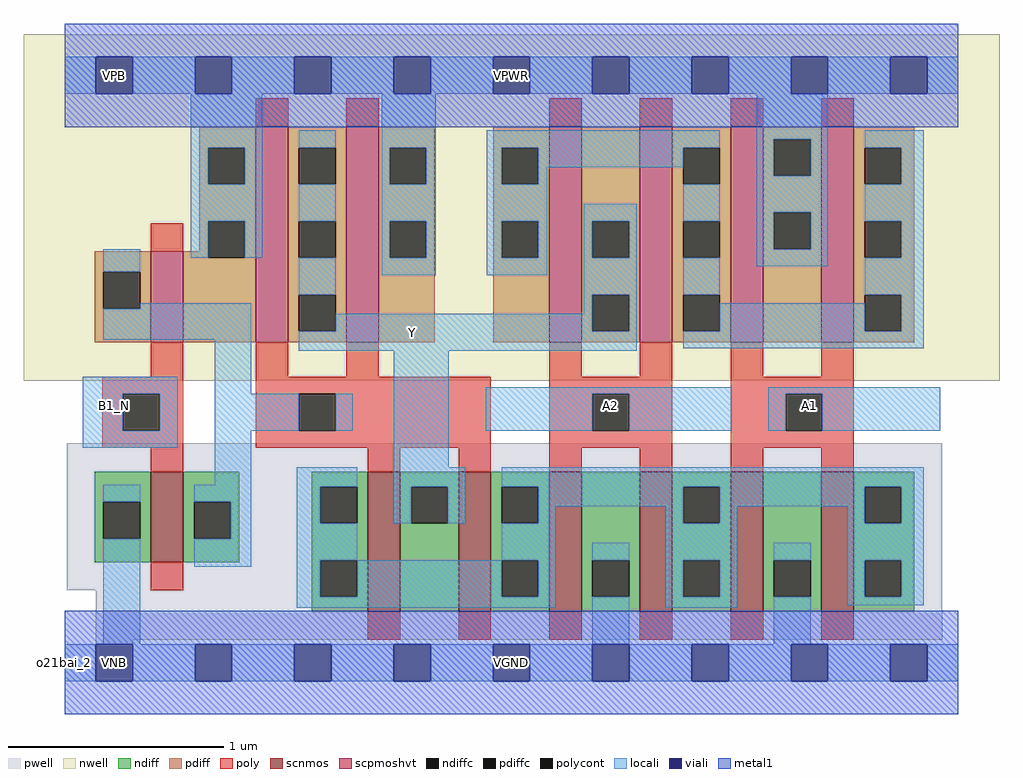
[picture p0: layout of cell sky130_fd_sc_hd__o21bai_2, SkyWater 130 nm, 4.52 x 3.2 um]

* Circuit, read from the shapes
.subckt sky130_fd_sc_hd__o21bai_2 A1 A2 B1_N VGND VNB VPB VPWR Y
XM1 n1 B1_N VGND VNB sky130_fd_pr__nfet_01v8 w=0.42 l=0.15
XM2 Y n1 n2 VNB sky130_fd_pr__nfet_01v8 w=0.65 l=0.15 m=2
XM3 VGND A2 n2 VNB sky130_fd_pr__nfet_01v8 w=0.65 l=0.15 m=2
XM4 VGND A1 n2 VNB sky130_fd_pr__nfet_01v8 w=0.65 l=0.15 m=2
XM5 VPWR B1_N n1 VPB sky130_fd_pr__pfet_01v8_hvt w=0.42 l=0.15
XM6 Y n1 VPWR VPB sky130_fd_pr__pfet_01v8_hvt w=1 l=0.15 m=2
XM7 Y A2 n3 VPB sky130_fd_pr__pfet_01v8_hvt w=1 l=0.15 m=2
XM8 VPWR A1 n3 VPB sky130_fd_pr__pfet_01v8_hvt w=1 l=0.15 m=2
.ends

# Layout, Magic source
magic
tech sky130B
magscale 1 2
<< nwell >>
rect -38 261 866 582
<< pwell >>
rect 2 67 813 203
rect 29 21 813 67
rect 29 -17 63 21
<< scnmos >>
rect 80 93 110 177
rect 281 47 311 177
rect 365 47 395 177
rect 449 47 479 177
rect 533 47 563 177
rect 617 47 647 177
rect 701 47 731 177
<< scpmoshvt >>
rect 80 297 110 381
rect 177 297 207 497
rect 261 297 291 497
rect 449 297 479 497
rect 533 297 563 497
rect 617 297 647 497
rect 701 297 731 497
<< ndiff >>
rect 28 149 80 177
rect 28 115 36 149
rect 70 115 80 149
rect 28 93 80 115
rect 110 149 162 177
rect 110 115 120 149
rect 154 115 162 149
rect 110 93 162 115
rect 229 163 281 177
rect 229 129 237 163
rect 271 129 281 163
rect 229 95 281 129
rect 229 61 237 95
rect 271 61 281 95
rect 229 47 281 61
rect 311 163 365 177
rect 311 129 321 163
rect 355 129 365 163
rect 311 47 365 129
rect 395 163 449 177
rect 395 129 405 163
rect 439 129 449 163
rect 395 95 449 129
rect 395 61 405 95
rect 439 61 449 95
rect 395 47 449 61
rect 479 95 533 177
rect 479 61 489 95
rect 523 61 533 95
rect 479 47 533 61
rect 563 163 617 177
rect 563 129 573 163
rect 607 129 617 163
rect 563 95 617 129
rect 563 61 573 95
rect 607 61 617 95
rect 563 47 617 61
rect 647 95 701 177
rect 647 61 657 95
rect 691 61 701 95
rect 647 47 701 61
rect 731 163 787 177
rect 731 129 741 163
rect 775 129 787 163
rect 731 95 787 129
rect 731 61 741 95
rect 775 61 787 95
rect 731 47 787 61
<< pdiff >>
rect 125 477 177 497
rect 125 443 133 477
rect 167 443 177 477
rect 125 409 177 443
rect 125 381 133 409
rect 28 362 80 381
rect 28 328 36 362
rect 70 328 80 362
rect 28 297 80 328
rect 110 375 133 381
rect 167 375 177 409
rect 110 297 177 375
rect 207 477 261 497
rect 207 443 217 477
rect 251 443 261 477
rect 207 409 261 443
rect 207 375 217 409
rect 251 375 261 409
rect 207 341 261 375
rect 207 307 217 341
rect 251 307 261 341
rect 207 297 261 307
rect 291 477 343 497
rect 291 443 301 477
rect 335 443 343 477
rect 291 409 343 443
rect 291 375 301 409
rect 335 375 343 409
rect 291 297 343 375
rect 397 477 449 497
rect 397 443 405 477
rect 439 443 449 477
rect 397 409 449 443
rect 397 375 405 409
rect 439 375 449 409
rect 397 297 449 375
rect 479 409 533 497
rect 479 375 489 409
rect 523 375 533 409
rect 479 341 533 375
rect 479 307 489 341
rect 523 307 533 341
rect 479 297 533 307
rect 563 477 617 497
rect 563 443 573 477
rect 607 443 617 477
rect 563 409 617 443
rect 563 375 573 409
rect 607 375 617 409
rect 563 341 617 375
rect 563 307 573 341
rect 607 307 617 341
rect 563 297 617 307
rect 647 485 701 497
rect 647 451 657 485
rect 691 451 701 485
rect 647 417 701 451
rect 647 383 657 417
rect 691 383 701 417
rect 647 297 701 383
rect 731 477 787 497
rect 731 443 741 477
rect 775 443 787 477
rect 731 409 787 443
rect 731 375 741 409
rect 775 375 787 409
rect 731 341 787 375
rect 731 307 741 341
rect 775 307 787 341
rect 731 297 787 307
<< ndiffc >>
rect 36 115 70 149
rect 120 115 154 149
rect 237 129 271 163
rect 237 61 271 95
rect 321 129 355 163
rect 405 129 439 163
rect 405 61 439 95
rect 489 61 523 95
rect 573 129 607 163
rect 573 61 607 95
rect 657 61 691 95
rect 741 129 775 163
rect 741 61 775 95
<< pdiffc >>
rect 133 443 167 477
rect 36 328 70 362
rect 133 375 167 409
rect 217 443 251 477
rect 217 375 251 409
rect 217 307 251 341
rect 301 443 335 477
rect 301 375 335 409
rect 405 443 439 477
rect 405 375 439 409
rect 489 375 523 409
rect 489 307 523 341
rect 573 443 607 477
rect 573 375 607 409
rect 573 307 607 341
rect 657 451 691 485
rect 657 383 691 417
rect 741 443 775 477
rect 741 375 775 409
rect 741 307 775 341
<< poly >>
rect 177 497 207 523
rect 261 497 291 523
rect 449 497 479 523
rect 533 497 563 523
rect 617 497 647 523
rect 701 497 731 523
rect 80 381 110 407
rect 80 265 110 297
rect 35 249 110 265
rect 35 215 54 249
rect 88 215 110 249
rect 35 199 110 215
rect 177 265 207 297
rect 261 265 291 297
rect 449 265 479 297
rect 533 265 563 297
rect 177 249 395 265
rect 177 215 217 249
rect 251 215 395 249
rect 177 199 395 215
rect 80 177 110 199
rect 281 177 311 199
rect 365 177 395 199
rect 449 249 563 265
rect 449 215 489 249
rect 523 215 563 249
rect 449 199 563 215
rect 449 177 479 199
rect 533 177 563 199
rect 617 265 647 297
rect 701 265 731 297
rect 617 249 731 265
rect 617 215 668 249
rect 702 215 731 249
rect 617 199 731 215
rect 617 177 647 199
rect 701 177 731 199
rect 80 67 110 93
rect 281 21 311 47
rect 365 21 395 47
rect 449 21 479 47
rect 533 21 563 47
rect 617 21 647 47
rect 701 21 731 47
<< polycont >>
rect 54 215 88 249
rect 217 215 251 249
rect 489 215 523 249
rect 668 215 702 249
<< locali >>
rect 0 527 29 561
rect 63 527 121 561
rect 155 527 213 561
rect 247 527 305 561
rect 339 527 397 561
rect 431 527 489 561
rect 523 527 581 561
rect 615 527 673 561
rect 707 527 765 561
rect 799 527 828 561
rect 117 477 183 527
rect 117 443 133 477
rect 167 443 183 477
rect 117 409 183 443
rect 36 362 70 383
rect 117 375 133 409
rect 167 375 183 409
rect 217 477 251 493
rect 217 409 251 443
rect 217 341 251 375
rect 294 477 344 527
rect 294 443 301 477
rect 335 443 344 477
rect 294 409 344 443
rect 294 375 301 409
rect 335 375 344 409
rect 294 359 344 375
rect 391 477 607 493
rect 391 443 405 477
rect 439 459 573 477
rect 439 443 447 459
rect 391 409 447 443
rect 391 375 405 409
rect 439 375 447 409
rect 391 359 447 375
rect 481 409 530 425
rect 481 375 489 409
rect 523 375 530 409
rect 70 328 173 333
rect 36 299 173 328
rect 17 249 105 265
rect 17 215 54 249
rect 88 215 105 249
rect 17 199 105 215
rect 139 249 173 299
rect 481 341 530 375
rect 481 323 489 341
rect 251 307 489 323
rect 523 307 530 341
rect 217 289 530 307
rect 573 409 607 443
rect 573 341 607 375
rect 641 485 707 527
rect 641 451 657 485
rect 691 451 707 485
rect 641 417 707 451
rect 641 383 657 417
rect 691 383 707 417
rect 641 367 707 383
rect 741 477 796 493
rect 775 443 796 477
rect 741 409 796 443
rect 775 375 796 409
rect 741 341 796 375
rect 607 307 741 333
rect 775 307 796 341
rect 573 291 796 307
rect 139 215 217 249
rect 251 215 267 249
rect 139 165 173 215
rect 305 181 356 289
rect 390 249 618 255
rect 390 215 489 249
rect 523 215 618 249
rect 652 249 811 255
rect 652 215 668 249
rect 702 215 811 249
rect 36 149 70 165
rect 36 17 70 115
rect 120 149 173 165
rect 154 115 173 149
rect 120 89 173 115
rect 215 163 271 181
rect 215 129 237 163
rect 305 163 371 181
rect 305 129 321 163
rect 355 129 371 163
rect 405 163 796 181
rect 439 145 573 163
rect 439 129 455 145
rect 215 95 271 129
rect 405 95 455 129
rect 557 129 573 145
rect 607 145 741 163
rect 607 129 623 145
rect 215 61 237 95
rect 271 61 405 95
rect 439 61 455 95
rect 215 51 455 61
rect 489 95 523 111
rect 489 17 523 61
rect 557 95 623 129
rect 725 129 741 145
rect 775 129 796 163
rect 557 61 573 95
rect 607 61 623 95
rect 557 51 623 61
rect 657 95 691 111
rect 657 17 691 61
rect 725 95 796 129
rect 725 61 741 95
rect 775 61 796 95
rect 725 53 796 61
rect 0 -17 29 17
rect 63 -17 121 17
rect 155 -17 213 17
rect 247 -17 305 17
rect 339 -17 397 17
rect 431 -17 489 17
rect 523 -17 581 17
rect 615 -17 673 17
rect 707 -17 765 17
rect 799 -17 828 17
<< viali >>
rect 29 527 63 561
rect 121 527 155 561
rect 213 527 247 561
rect 305 527 339 561
rect 397 527 431 561
rect 489 527 523 561
rect 581 527 615 561
rect 673 527 707 561
rect 765 527 799 561
rect 29 -17 63 17
rect 121 -17 155 17
rect 213 -17 247 17
rect 305 -17 339 17
rect 397 -17 431 17
rect 489 -17 523 17
rect 581 -17 615 17
rect 673 -17 707 17
rect 765 -17 799 17
<< metal1 >>
rect 0 561 828 592
rect 0 527 29 561
rect 63 527 121 561
rect 155 527 213 561
rect 247 527 305 561
rect 339 527 397 561
rect 431 527 489 561
rect 523 527 581 561
rect 615 527 673 561
rect 707 527 765 561
rect 799 527 828 561
rect 0 496 828 527
rect 0 17 828 48
rect 0 -17 29 17
rect 63 -17 121 17
rect 155 -17 213 17
rect 247 -17 305 17
rect 339 -17 397 17
rect 431 -17 489 17
rect 523 -17 581 17
rect 615 -17 673 17
rect 707 -17 765 17
rect 799 -17 828 17
rect 0 -48 828 -17
<< labels >>
flabel locali s 29 221 63 255 0 FreeSans 400 0 0 0 B1_N
port 3 nsew signal input
flabel locali s 305 289 339 323 0 FreeSans 400 0 0 0 Y
port 8 nsew signal output
flabel locali s 489 221 523 255 0 FreeSans 400 180 0 0 A2
port 2 nsew signal input
flabel locali s 673 221 707 255 0 FreeSans 400 180 0 0 A1
port 1 nsew signal input
flabel pwell s 29 -17 63 17 0 FreeSans 200 0 0 0 VNB
port 5 nsew ground bidirectional
flabel nwell s 29 527 63 561 0 FreeSans 200 0 0 0 VPB
port 6 nsew power bidirectional
flabel metal1 s 29 -17 63 17 0 FreeSans 200 0 0 0 VGND
port 4 nsew ground bidirectional abutment
flabel metal1 s 29 527 63 561 0 FreeSans 200 0 0 0 VPWR
port 7 nsew power bidirectional abutment
rlabel comment s 0 0 0 0 4 o21bai_2
rlabel metal1 s 0 -48 828 48 1 VGND
port 4 nsew ground bidirectional abutment
rlabel metal1 s 0 496 828 592 1 VPWR
port 7 nsew power bidirectional abutment
<< properties >>
string FIXED_BBOX 0 0 828 544
string GDS_END 1322534
string GDS_FILE $PDKPATH/libs.ref/sky130_fd_sc_hd/gds/sky130_fd_sc_hd.gds
string GDS_START 1315478
string LEFclass CORE
string LEFsite unithd
string LEFsymmetry X Y R90
string path 0.000 0.000 4.140 0.000 
<< end >>
